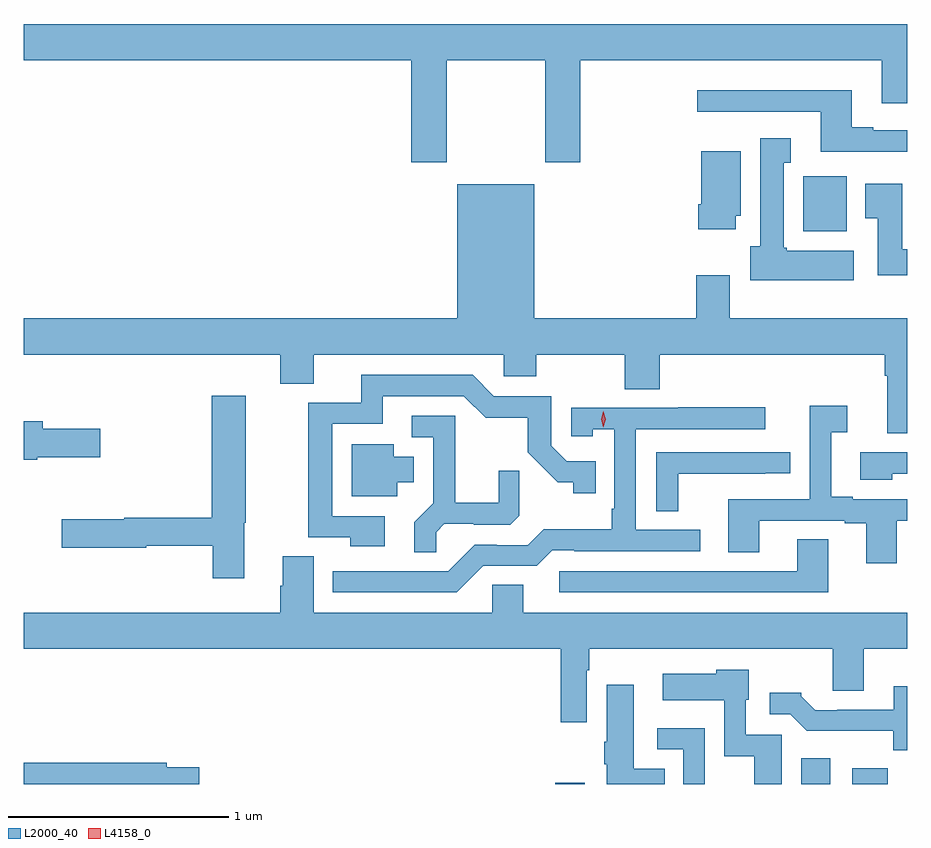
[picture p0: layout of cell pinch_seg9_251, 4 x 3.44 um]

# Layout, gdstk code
import gdstk
lib = gdstk.Library(unit=1e-6, precision=1e-09)
def R(c, l, rs):  # rectangles x0, y0, x1, y1
    for r in rs: c.add(gdstk.rectangle(r[:2], r[2:], *l))
def P(c, l, *ps):  # polygons
    for p in ps: c.add(gdstk.Polygon(p, *l))
L2000_40 = (2000, 40)
L4158_0 = (4158, 0)

pinch_seg9_251 = lib.new_cell('pinch_seg9_251')
R(pinch_seg9_251, L2000_40, [(496.352,1238.432,496.486,1238.437), (497.465,1238.432,497.596,1238.548), (497.696,1238.432,497.858,1238.503), (497.475,1240.934,497.671,1241.184)])
P(pinch_seg9_251, L2000_40, [(493.946,1241.708),(495.701,1241.708),(495.701,1241.247),(495.861,1241.247),(495.861,1241.708),(496.306,1241.708),(496.306,1241.247),(496.466,1241.247),(496.466,1241.708),(497.831,1241.708),(497.831,1241.514),(497.946,1241.514),(497.946,1241.872),(493.946,1241.872)],
  [(497.946,1241.391),(497.791,1241.391),(497.791,1241.404),(497.695,1241.404),(497.695,1241.572),(496.995,1241.572),(496.995,1241.475),(497.555,1241.475),(497.555,1241.294),(497.946,1241.294)],
  [(497.704,1240.846),(497.4,1240.846),(497.4,1240.86),(497.386,1240.86),(497.386,1241.243),(497.419,1241.243),(497.419,1241.356),(497.279,1241.356),(497.279,1240.866),(497.234,1240.866),(497.234,1240.712),(497.704,1240.712)],
  [(497.17,1241.004),(497.191,1241.004),(497.191,1241.296),(497.012,1241.296),(497.012,1241.056),(497,1241.056),(497,1240.944),(497.17,1240.944)],
  [(497.946,1240.852),(497.923,1240.852),(497.923,1241.149),(497.756,1241.149),(497.756,1240.993),(497.813,1240.993),(497.813,1240.734),(497.946,1240.734)],
  [(497.946,1240.54),(497.143,1240.54),(497.143,1240.735),(496.991,1240.735),(496.991,1240.54),(496.258,1240.54),(496.258,1241.146),(495.908,1241.146),(495.908,1240.54),(493.946,1240.54),(493.946,1240.376),(495.107,1240.376),(495.107,1240.243),(495.259,1240.243),(495.259,1240.376),(496.119,1240.376),(496.119,1240.278),(496.266,1240.278),(496.266,1240.376),(496.666,1240.376),(496.666,1240.219),(496.826,1240.219),(496.826,1240.376),(497.843,1240.376),(497.843,1240.28),(497.855,1240.28),(497.855,1240.02),(497.946,1240.02)],
  [(495.58,1239.645),(495.342,1239.645),(495.342,1240.062),(495.571,1240.062),(495.571,1240.188),(495.939,1240.188),(496.038,1240.09),(496.227,1240.09),(496.227,1239.934),(496.364,1239.797),(496.434,1239.797),(496.434,1239.747),(496.535,1239.747),(496.535,1239.894),(496.404,1239.894),(496.335,1239.963),(496.335,1240.188),(496.074,1240.188),(495.978,1240.284),(495.473,1240.284),(495.473,1240.158),(495.234,1240.158),(495.234,1239.549),(495.424,1239.549),(495.424,1239.509),(495.58,1239.509)],
  [(494.944,1239.615),(494.952,1239.615),(494.952,1240.189),(494.798,1240.189),(494.798,1239.638),(494.402,1239.638),(494.402,1239.631),(494.118,1239.631),(494.118,1239.502),(494.502,1239.502),(494.502,1239.51),(494.803,1239.51),(494.803,1239.363),(494.944,1239.363)],
  [(497.899,1239.624),(497.946,1239.624),(497.946,1239.72),(497.698,1239.72),(497.698,1239.733),(497.602,1239.733),(497.602,1240.024),(497.674,1240.024),(497.674,1240.144),(497.505,1240.144),(497.505,1239.72),(497.135,1239.72),(497.135,1239.481),(497.275,1239.481),(497.275,1239.624),(497.663,1239.624),(497.663,1239.612),(497.759,1239.612),(497.759,1239.432),(497.899,1239.432)],
  [(496.026,1239.42),(496.269,1239.42),(496.338,1239.489),(496.438,1239.489),(496.438,1239.486),(497.008,1239.486),(497.008,1239.582),(496.716,1239.582),(496.716,1240.038),(497.302,1240.038),(497.302,1240.137),(496.909,1240.137),(496.909,1240.134),(496.425,1240.134),(496.425,1240.005),(496.521,1240.005),(496.521,1240.037),(496.62,1240.037),(496.62,1239.679),(496.608,1239.679),(496.608,1239.586),(496.3,1239.586),(496.227,1239.513),(496.088,1239.513),(496.088,1239.516),(495.987,1239.516),(495.867,1239.396),(495.344,1239.396),(495.344,1239.3),(495.906,1239.3)],
  [(495.813,1239.572),(495.85,1239.609),(495.984,1239.609),(495.984,1239.606),(496.149,1239.606),(496.19,1239.647),(496.19,1239.849),(496.096,1239.849),(496.096,1239.706),(495.899,1239.706),(495.899,1240.098),(495.702,1240.098),(495.702,1240.002),(495.801,1240.002),(495.801,1239.703),(495.715,1239.617),(495.715,1239.481),(495.813,1239.481)],
  [(494.008,1239.911),(494.293,1239.911),(494.293,1240.041),(494.032,1240.041),(494.032,1240.075),(493.946,1240.075),(493.946,1239.899),(494.008,1239.899)],
  [(495.637,1239.797),(495.712,1239.797),(495.712,1239.913),(495.622,1239.913),(495.622,1239.97),(495.431,1239.97),(495.431,1239.734),(495.637,1239.734)],
  [(496.908,1239.837),(497.303,1239.837),(497.303,1239.838),(497.416,1239.838),(497.416,1239.933),(496.809,1239.933),(496.809,1239.667),(496.908,1239.667)],
  [(497.877,1239.837),(497.946,1239.837),(497.946,1239.933),(497.733,1239.933),(497.733,1239.809),(497.877,1239.809)],
  [(497.587,1239.539),(497.447,1239.539),(497.447,1239.396),(496.371,1239.396),(496.371,1239.3),(497.587,1239.3)],
  [(496.494,1238.948),(496.507,1238.948),(496.507,1239.044),(497.609,1239.044),(497.609,1238.854),(497.749,1238.854),(497.749,1239.044),(497.946,1239.044),(497.946,1239.208),(496.207,1239.208),(496.207,1239.335),(496.068,1239.335),(496.068,1239.208),(495.259,1239.208),(495.259,1239.464),(495.119,1239.464),(495.119,1239.33),(495.107,1239.33),(495.107,1239.208),(493.946,1239.208),(493.946,1239.044),(496.378,1239.044),(496.378,1238.712),(496.494,1238.712)],
  [(497.377,1238.655),(497.214,1238.655),(497.214,1238.814),(497.227,1238.814),(497.227,1238.95),(497.082,1238.95),(497.082,1238.932),(496.839,1238.932),(496.839,1238.81),(497.118,1238.81),(497.118,1238.558),(497.252,1238.558),(497.252,1238.432),(497.377,1238.432)],
  [(496.847,1238.5),(496.708,1238.5),(496.708,1238.881),(496.586,1238.881),(496.586,1238.624),(496.574,1238.624),(496.574,1238.521),(496.586,1238.521),(496.586,1238.432),(496.847,1238.432)],
  [(497.946,1238.875),(497.885,1238.875),(497.885,1238.769),(497.629,1238.769),(497.629,1238.766),(497.53,1238.766),(497.466,1238.83),(497.466,1238.845),(497.322,1238.845),(497.322,1238.748),(497.415,1238.748),(497.491,1238.672),(497.883,1238.672),(497.883,1238.585),(497.946,1238.585)],
  [(497.028,1238.685),(496.815,1238.685),(496.815,1238.589),(496.932,1238.589),(496.932,1238.432),(497.028,1238.432)],
  [(494.741,1238.508),(494.594,1238.508),(494.594,1238.528),(493.946,1238.528),(493.946,1238.432),(494.741,1238.432)])
P(pinch_seg9_251, L4158_0, [(496.57,1240.046),(496.569,1240.047),(496.56,1240.083),(496.569,1240.119),(496.57,1240.119),(496.57,1240.119),(496.58,1240.083),(496.57,1240.047)])

lib.write_gds('pinch_seg9_251.gds')
